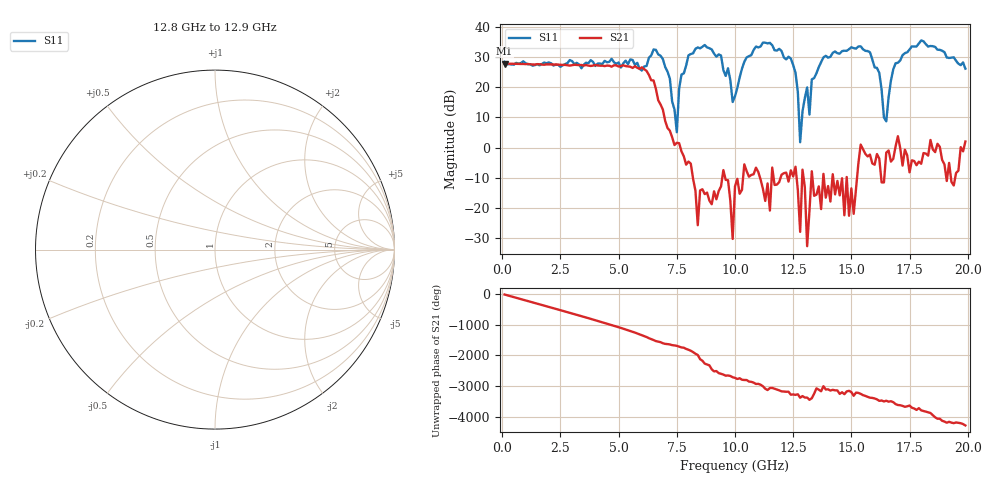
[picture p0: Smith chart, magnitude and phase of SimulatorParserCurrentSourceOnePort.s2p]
# MHz MA S R 50.0
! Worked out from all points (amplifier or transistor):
!   199 points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, 100 MHz to 19.9 GHz, reference 50 ohm
!   highest |S21| = 27.9 dB at 100 MHz (marker M1)
!   |S21| within 3 dB of that: start of sweep to 6.241 GHz
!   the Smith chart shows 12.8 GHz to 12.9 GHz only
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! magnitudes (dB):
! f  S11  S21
! 100 MHz  28.5  27.9
! 3.4 GHz  26.3  27.4
! 6.7 GHz  31.0  15.7
! 7.5 GHz  5.1  1.6
! 7.7 GHz  24.3  -1.3
! 8.4 GHz  33.3  -25.8
! 9.5 GHz  25.7  -7.5
! 9.9 GHz  15.2  -30.4
! 10 GHz  17.0  -12.9
! 11.9 GHz  32.8  -11.5
! 12.6 GHz  24.8  -6.4
! 12.8 GHz  1.8  -28.0
! 12.9 GHz  12.0  -7.3
! 13.1 GHz  20.0  -32.8
! 13.3 GHz  22.7  -7.9
! 14.8 GHz  32.1  -9.8
! 14.9 GHz  32.7  -22.7
! 15.4 GHz  33.7  1.0
! 16.6 GHz  16.7  -1.0
! 18 GHz  35.6  -5.4
! 19.4 GHz  30.0  -12.6
! 19.9 GHz  26.2  2.0
